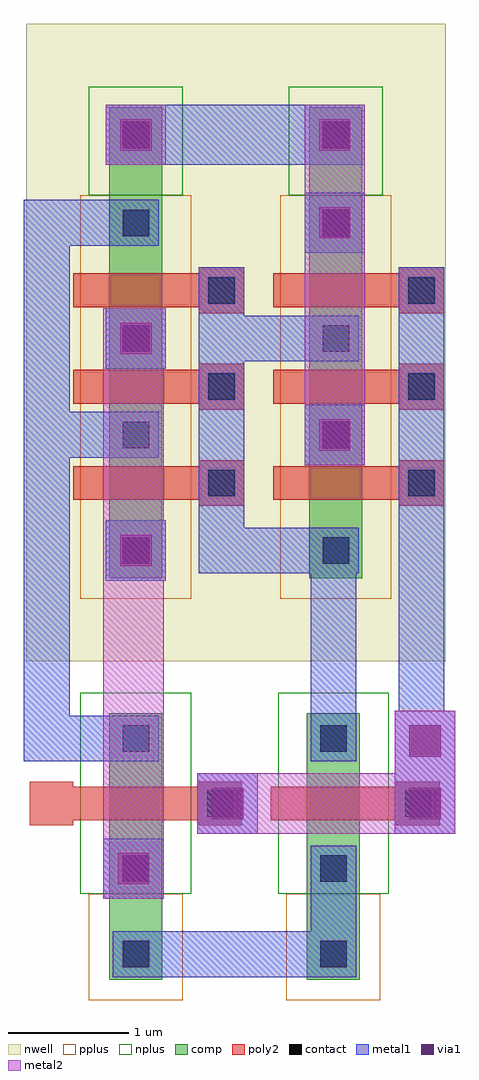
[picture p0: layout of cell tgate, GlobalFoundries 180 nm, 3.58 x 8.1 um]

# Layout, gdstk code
from math import pi, radians
import gdstk
lib = gdstk.Library(unit=1e-6, precision=5e-09)
def R(c, l, rs):  # rectangles x0, y0, x1, y1
    for r in rs: c.add(gdstk.rectangle(r[:2], r[2:], *l))
def A(c, l, x, y, w, h, nx, ny, dx, dy):  # array of equal rectangles
    R(c, l, [(x+i*dx, y+j*dy, x+i*dx+w, y+j*dy+h) for i in range(nx) for j in range(ny)])
nwell = (21, 0)
comp = (22, 0)
poly2 = (30, 0)
pplus = (31, 0)
nplus = (32, 0)
contact = (33, 0)
metal1 = (34, 0)
via1 = (35, 0)
metal2 = (36, 0)

via_dev = lib.new_cell('via_dev')
R(via_dev, metal1, [(0,0,0.5,0.5)])
R(via_dev, via1, [(0.12,0.12,0.38,0.38)])
R(via_dev, metal2, [(0,0,0.5,0.5)])

pfet = lib.new_cell('pfet')
R(pfet, nwell, [(-1.15,-0.69,4.14,1.13)])
R(pfet, comp, [(-0.46,0,0,0.44), (0,0,2.26,0.44), (2.26,0,2.72,0.44), (2.72,0,3.45,0.44)])
A(pfet, poly2, 0.19, -0.3, 0.28, 1.04, 3, 1, 0.8, 0)
A(pfet, poly2, 0.14, 0.74, 0.38, 0.38, 3, 1, 0.8, 0)
R(pfet, pplus, [(-0.63,-0.24,2.72,0.68)])
R(pfet, nplus, [(2.72,-0.17,3.62,0.61)])
A(pfet, contact, 0.22, 0.82, 0.22, 0.22, 3, 1, 0.8, 0)
R(pfet, contact, [(-0.34,0.11,-0.12,0.33), (0.62,0.11,0.84,0.33), (1.42,0.11,1.64,0.33), (2.38,0.11,2.6,0.33), (3.11,0.11,3.33,0.33)])
A(pfet, metal1, 0.14, 0.74, 0.38, 0.38, 3, 1, 0.8, 0)
R(pfet, metal1, [(-0.42,0.03,-0.04,0.41), (0.54,0.03,0.92,0.41), (1.34,0.03,1.72,0.41), (2.3,0.03,2.68,0.41), (3.03,0.03,3.41,0.41)])

nfet_1 = lib.new_cell('nfet$1')
R(nfet_1, comp, [(-0.42,0,0,0.44), (0,0,0.66,0.44), (0.66,0,1.08,0.44), (1.08,0,1.79,0.44)])
R(nfet_1, poly2, [(0.19,-0.3,0.47,0.74), (0.15,0.74,0.51,1.1)])
R(nfet_1, pplus, [(1.08,-0.17,1.96,0.61)])
R(nfet_1, nplus, [(-0.59,-0.24,1.08,0.68)])
R(nfet_1, contact, [(-0.32,0.11,-0.1,0.33), (0.76,0.11,0.98,0.33), (1.47,0.11,1.69,0.33), (0.22,0.81,0.44,1.03)])
R(nfet_1, metal1, [(-0.4,0.03,-0.02,0.41), (0.68,0.03,1.06,0.41), (1.39,0.03,1.77,0.41), (0.14,0.73,0.52,1.11)])

tgate = lib.new_cell('tgate')
R(tgate, poly2, [(0.05,1.94,0.41,2.3)])
R(tgate, metal1, [(0.74,0.68,2.76,1.06), (2.38,0.68,2.76,1.77), (3.11,1.93,3.49,6.57), (3.08,2.37,3.58,2.39), (0,2.47,1.12,2.85), (0,2.47,0.38,7.13), (2.38,2.47,2.76,4.41), (1.45,4.03,1.83,6.57), (1.45,4.03,2.78,4.41), (0,4.99,1.12,5.37), (1.45,5.79,2.78,6.17), (0,6.75,1.12,7.13), (1.15,7.42,2.37,7.92)])
R(tgate, metal2, [(0.66,1.33,1.16,6.23), (1.44,1.87,3.58,2.37), (3.08,2.37,3.58,2.39), (2.33,4.93,2.83,7.92)])
tgate.add(gdstk.Reference(via_dev, (0.68,3.97)))
tgate.add(gdstk.Reference(via_dev, (0.68,5.73)))
tgate.add(gdstk.Reference(via_dev, (2.83,7.42), rotation=pi, x_reflection=True))
tgate.add(gdstk.Reference(via_dev, (0.66,1.33)))
tgate.add(gdstk.Reference(via_dev, (2.83,6.69), rotation=pi, x_reflection=True))
tgate.add(gdstk.Reference(via_dev, (2.83,4.93), rotation=pi, x_reflection=True))
tgate.add(gdstk.Reference(via_dev, (3.08,1.87)))
tgate.add(gdstk.Reference(via_dev, (3.08,2.39)))
tgate.add(gdstk.Reference(via_dev, (1.44,1.87)))
tgate.add(gdstk.Reference(via_dev, (0.68,7.42)))
tgate.add(gdstk.Reference(pfet, (0.71,4.45), rotation=pi/2, x_reflection=True))
tgate.add(gdstk.Reference(pfet, (2.37,4.45), rotation=pi/2, x_reflection=True))
tgate.add(gdstk.Reference(nfet_1, (2.35,2.45), rotation=3*pi/2))
tgate.add(gdstk.Reference(nfet_1, (0.71,2.45), rotation=3*pi/2))

lib.write_gds('tgate.gds')
